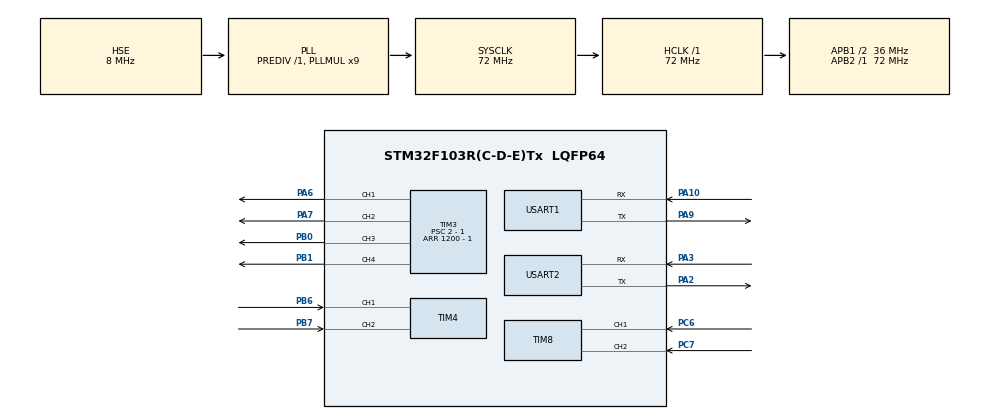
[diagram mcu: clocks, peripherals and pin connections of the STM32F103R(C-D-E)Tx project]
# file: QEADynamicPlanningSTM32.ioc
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Dma.Request0=USART1_RX
Dma.Request1=USART2_RX
Dma.USART1_RX.0.Direction=DMA_PERIPH_TO_MEMORY
Dma.USART1_RX.0.Instance=DMA1_Channel5
Dma.USART1_RX.0.MemDataAlignment=DMA_MDATAALIGN_BYTE
Dma.USART1_RX.0.MemInc=DMA_MINC_ENABLE
Dma.USART1_RX.0.Mode=DMA_CIRCULAR
Dma.USART1_RX.0.PeriphDataAlignment=DMA_PDATAALIGN_BYTE
Dma.USART1_RX.0.PeriphInc=DMA_PINC_DISABLE
Dma.USART1_RX.0.Priority=DMA_PRIORITY_LOW
Dma.USART2_RX.1.Direction=DMA_PERIPH_TO_MEMORY
Dma.USART2_RX.1.Instance=DMA1_Channel6
Dma.USART2_RX.1.MemDataAlignment=DMA_MDATAALIGN_BYTE
Dma.USART2_RX.1.MemInc=DMA_MINC_ENABLE
Dma.USART2_RX.1.Mode=DMA_CIRCULAR
Dma.USART2_RX.1.PeriphDataAlignment=DMA_PDATAALIGN_BYTE
Dma.USART2_RX.1.PeriphInc=DMA_PINC_DISABLE
Dma.USART2_RX.1.Priority=DMA_PRIORITY_LOW
FREERTOS.Mutexes01=debugUartMutex,Dynamic,NULL
FREERTOS.Tasks01=defaultTask,24,512,StartDefaultTask,Default,NULL,Dynamic,NULL,NULL;imuDecoder,24,512,IMUDecoder,Default,NULL,Dynamic,NULL,NULL;robotController,24,512,RobotController,Default,NULL,Dynamic,NULL,NULL
FREERTOS.configTOTAL_HEAP_SIZE=9999
Mcu.Family=STM32F1
Mcu.Name=STM32F103R(C-D-E)Tx
Mcu.Package=LQFP64
NVIC.DMA1_Channel5_IRQn=true\:5\:0\:false\:false\:true\:true\:false\:true
NVIC.DMA1_Channel6_IRQn=true\:5\:0\:false\:false\:true\:true\:false\:true
NVIC.PriorityGroup=NVIC_PRIORITYGROUP_4
NVIC.TIM6_IRQn=true\:15\:0\:false\:false\:true\:false\:false\:true
NVIC.TIM7_IRQn=true\:5\:0\:false\:false\:true\:true\:true\:true
NVIC.TimeBase=TIM6_IRQn
NVIC.TimeBaseIP=TIM6
NVIC.USART1_IRQn=true\:5\:0\:false\:false\:true\:true\:true\:true
PA10.Mode=Asynchronous
PA10.Signal=USART1_RX
PA13.Mode=Serial_Wire
PA13.Signal=SYS_JTMS-SWDIO
PA14.Mode=Serial_Wire
PA14.Signal=SYS_JTCK-SWCLK
PA2.Mode=Asynchronous
PA2.Signal=USART2_TX
PA3.Mode=Asynchronous
PA3.Signal=USART2_RX
PA6.Signal=S_TIM3_CH1
PA7.Signal=S_TIM3_CH2
PA9.Mode=Asynchronous
PA9.Signal=USART1_TX
PB0.Signal=S_TIM3_CH3
PB1.Signal=S_TIM3_CH4
PB6.Signal=S_TIM4_CH1
PB7.Signal=S_TIM4_CH2
PC6.Signal=S_TIM8_CH1
PC7.Signal=S_TIM8_CH2
PD0-OSC_IN.Mode=HSE-External-Oscillator
PD0-OSC_IN.Signal=RCC_OSC_IN
PD1-OSC_OUT.Mode=HSE-External-Oscillator
PD1-OSC_OUT.Signal=RCC_OSC_OUT
ProjectManager.HeapSize=0x200
ProjectManager.StackSize=0x400
ProjectManager.TargetToolchain=STM32CubeIDE
RCC.AHBFreq_Value=72000000
RCC.APB1CLKDivider=RCC_HCLK_DIV2
RCC.APB1Freq_Value=36000000
RCC.APB1TimFreq_Value=72000000
RCC.APB2Freq_Value=72000000
RCC.APB2TimFreq_Value=72000000
RCC.HCLKFreq_Value=72000000
RCC.PLLMUL=RCC_PLL_MUL9
RCC.PLLSourceVirtual=RCC_PLLSOURCE_HSE
RCC.SYSCLKFreq_VALUE=72000000
RCC.SYSCLKSource=RCC_SYSCLKSOURCE_PLLCLK
RCC.USBFreq_Value=72000000
SH.S_TIM3_CH1.0=TIM3_CH1,PWM Generation1 CH1
SH.S_TIM3_CH2.0=TIM3_CH2,PWM Generation2 CH2
SH.S_TIM3_CH3.0=TIM3_CH3,PWM Generation3 CH3
SH.S_TIM3_CH4.0=TIM3_CH4,PWM Generation4 CH4
SH.S_TIM4_CH1.0=TIM4_CH1,Encoder_Interface
SH.S_TIM4_CH2.0=TIM4_CH2,Encoder_Interface
SH.S_TIM8_CH1.0=TIM8_CH1,Encoder_Interface
SH.S_TIM8_CH2.0=TIM8_CH2,Encoder_Interface
TIM3.Channel-PWM\ Generation1\ CH1=TIM_CHANNEL_1
TIM3.Channel-PWM\ Generation2\ CH2=TIM_CHANNEL_2
TIM3.Channel-PWM\ Generation3\ CH3=TIM_CHANNEL_3
TIM3.Channel-PWM\ Generation4\ CH4=TIM_CHANNEL_4
TIM3.Period=1200 - 1
TIM3.Prescaler=2 - 1
TIM4.EncoderMode=TIM_ENCODERMODE_TI12
TIM7.Period=1000 - 1
TIM7.Prescaler=72 - 1
TIM8.EncoderMode=TIM_ENCODERMODE_TI12
USART1.VirtualMode=VM_ASYNC
USART2.VirtualMode=VM_ASYNC
VP_FREERTOS_VS_CMSIS_V2.Mode=CMSIS_V2
VP_SYS_VS_tim6.Mode=TIM6
VP_TIM3_VS_ClockSourceINT.Mode=Internal
VP_TIM7_VS_ClockSourceINT.Mode=Enable_Timer
board=custom

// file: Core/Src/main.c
/* USER CODE BEGIN Header */
/**
  ******************************************************************************
  * @file           : main.c
  * @brief          : Main program body
  ******************************************************************************
  * @attention
  *
  * Copyright (c) 2023 STMicroelectronics.
  * All rights reserved.
  *
  * This software is licensed under terms that can be found in the LICENSE file
  * in the root directory of this software component.
  * If no LICENSE file comes with this software, it is provided AS-IS.
  *
  ******************************************************************************
  */
/* USER CODE END Header */
#include "main.h"
#include "cmsis_os.h"
#include "dma.h"
#include "tim.h"
#include "usart.h"
#include "gpio.h"

/* USER CODE BEGIN Includes */

#include "string.h"
#include "stdio.h"
#include "pid.h"
#include "wheel_pwm.h"
#include "imu.h"
#include "motion.h"
#include "robot.h"

/* USER CODE END Includes */

void SystemClock_Config(void);
void MX_FREERTOS_Init(void);

/* USER CODE BEGIN 0 */

void HAL_UART_RxHalfCpltCallback(UART_HandleTypeDef* huart)
{
    if (huart->Instance == USART2) {
        IMU_RxHalfCpltCallback();
    }
}

void HAL_UART_RxCpltCallback(UART_HandleTypeDef* huart)
{
    if (huart->Instance == USART2) {
        IMU_RxCpltCallback();
    } else if (huart->Instance == USART1) {
        Robot_RxCpltCallback();
    }
}

/* USER CODE END 0 */

int main(void)
{

  /* MCU Configuration--------------------------------------------------------*/

  /* Reset of all peripherals, Initializes the Flash interface and the Systick. */
  HAL_Init();

  /* Configure the system clock */
  SystemClock_Config();

  /* Initialize all configured peripherals */
  MX_DMA_Init();
  MX_GPIO_Init();
  MX_USART1_UART_Init();
  MX_USART2_UART_Init();
  MX_TIM3_Init();
  MX_TIM4_Init();
  MX_TIM8_Init();
  MX_TIM7_Init();
  /* USER CODE BEGIN 2 */

    Wheel_PID_Init();

    //启动编码器
    HAL_TIM_Encoder_Start(&htim4, TIM_CHANNEL_1 | TIM_CHANNEL_2);
    HAL_TIM_Encoder_Start(&htim8, TIM_CHANNEL_1 | TIM_CHANNEL_2);

    //开启pwm输出 驱动频率30kHz 0-1200
    HAL_TIM_PWM_Start(&htim3, TIM_CHANNEL_1);
    HAL_TIM_PWM_Start(&htim3, TIM_CHANNEL_2);
    HAL_TIM_PWM_Start(&htim3, TIM_CHANNEL_3);
    HAL_TIM_PWM_Start(&htim3, TIM_CHANNEL_4);

    //开启编码器速度采集 1kHz
    HAL_TIM_Base_Start_IT(&htim7);

  /* USER CODE END 2 */

  /* Init scheduler */
  osKernelInitialize();  /* Call init function for freertos objects (in freertos.c) */
  MX_FREERTOS_Init();
  /* Start scheduler */
  osKernelStart();

  /* We should never get here as control is now taken by the scheduler */
  /* Infinite loop */
  while (1)
  {

  }
}

void SystemClock_Config(void)
{
  RCC_OscInitTypeDef RCC_OscInitStruct = {0};
  RCC_ClkInitTypeDef RCC_ClkInitStruct = {0};

  /** Initializes the RCC Oscillators according to the specified parameters
  * in the RCC_OscInitTypeDef structure.
  */
  RCC_OscInitStruct.OscillatorType = RCC_OSCILLATORTYPE_HSE;
  RCC_OscInitStruct.HSEState = RCC_HSE_ON;
  RCC_OscInitStruct.HSEPredivValue = RCC_HSE_PREDIV_DIV1;
  RCC_OscInitStruct.HSIState = RCC_HSI_ON;
  RCC_OscInitStruct.PLL.PLLState = RCC_PLL_ON;
  RCC_OscInitStruct.PLL.PLLSource = RCC_PLLSOURCE_HSE;
  RCC_OscInitStruct.PLL.PLLMUL = RCC_PLL_MUL9;
  if (HAL_RCC_OscConfig(&RCC_OscInitStruct) != HAL_OK)
  {
    Error_Handler();
  }
  /** Initializes the CPU, AHB and APB buses clocks
  */
  RCC_ClkInitStruct.ClockType = RCC_CLOCKTYPE_HCLK|RCC_CLOCKTYPE_SYSCLK
                              |RCC_CLOCKTYPE_PCLK1|RCC_CLOCKTYPE_PCLK2;
  RCC_ClkInitStruct.SYSCLKSource = RCC_SYSCLKSOURCE_PLLCLK;
  RCC_ClkInitStruct.AHBCLKDivider = RCC_SYSCLK_DIV1;
  RCC_ClkInitStruct.APB1CLKDivider = RCC_HCLK_DIV2;
  RCC_ClkInitStruct.APB2CLKDivider = RCC_HCLK_DIV1;

  if (HAL_RCC_ClockConfig(&RCC_ClkInitStruct, FLASH_LATENCY_2) != HAL_OK)
  {
    Error_Handler();
  }
}

void HAL_TIM_PeriodElapsedCallback(TIM_HandleTypeDef *htim)
{
  if (htim->Instance == TIM6) {
    HAL_IncTick();
  }
  /* USER CODE BEGIN Callback 1 */

  //进行一次pid计算
  if (htim->Instance == TIM7) {
     Wheel_PID_Tick();
  }

  /* USER CODE END Callback 1 */
}

void Error_Handler(void)
{
  __disable_irq();
  while (1)
  {
  }
}

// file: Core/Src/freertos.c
/* USER CODE BEGIN Header */
/**
  ******************************************************************************
  * File Name          : freertos.c
  * Description        : Code for freertos applications
  ******************************************************************************
  * @attention
  *
  * Copyright (c) 2023 STMicroelectronics.
  * All rights reserved.
  *
  * This software is licensed under terms that can be found in the LICENSE file
  * in the root directory of this software component.
  * If no LICENSE file comes with this software, it is provided AS-IS.
  *
  ******************************************************************************
  */
/* USER CODE END Header */

#include "FreeRTOS.h"
#include "task.h"
#include "main.h"
#include "cmsis_os.h"

/* USER CODE BEGIN Includes */

#include "stdio.h"
#include "string.h"
#include "imu.h"
#include "motion.h"
#include "robot.h"

/* USER CODE END Includes */

/* Definitions for defaultTask */
osThreadId_t defaultTaskHandle;
const osThreadAttr_t defaultTask_attributes = {
  .name = "defaultTask",
  .stack_size = 512 * 4,
  .priority = (osPriority_t) osPriorityNormal,
};
/* Definitions for imuDecoder */
osThreadId_t imuDecoderHandle;
const osThreadAttr_t imuDecoder_attributes = {
  .name = "imuDecoder",
  .stack_size = 512 * 4,
  .priority = (osPriority_t) osPriorityNormal,
};
/* Definitions for robotController */
osThreadId_t robotControllerHandle;
const osThreadAttr_t robotController_attributes = {
  .name = "robotController",
  .stack_size = 512 * 4,
  .priority = (osPriority_t) osPriorityNormal,
};
/* Definitions for debugUartMutex */
osMutexId_t debugUartMutexHandle;
const osMutexAttr_t debugUartMutex_attributes = {
  .name = "debugUartMutex"
};

/* USER CODE BEGIN FunctionPrototypes */

int startsWith(const char* str1, const char* str2)
{
    int len1 = strlen(str1), len2 = strlen(str2);
    if (len1 < len2) return 0;
    for (int i = 0; i < len2; ++i) {
        if (str1[i] != str2[i]) return 0;
    }
    return 1;
}

/* USER CODE END FunctionPrototypes */

void StartDefaultTask(void *argument);
void IMUDecoder(void *argument);
void RobotController(void *argument);

void MX_FREERTOS_Init(void); /* (MISRA C 2004 rule 8.1) */

void MX_FREERTOS_Init(void) {
  /* Create the mutex(es) */
  /* creation of debugUartMutex */
  debugUartMutexHandle = osMutexNew(&debugUartMutex_attributes);

  /* USER CODE BEGIN RTOS_QUEUES */
  /* add queues, ... */

  messageBufferHandle = xMessageBufferCreate(1024);

  /* USER CODE END RTOS_QUEUES */

  /* Create the thread(s) */
  /* creation of defaultTask */
  defaultTaskHandle = osThreadNew(StartDefaultTask, NULL, &defaultTask_attributes);

  /* creation of imuDecoder */
  imuDecoderHandle = osThreadNew(IMUDecoder, NULL, &imuDecoder_attributes);

  /* creation of robotController */
  robotControllerHandle = osThreadNew(RobotController, NULL, &robotController_attributes);

}

void StartDefaultTask(void *argument)
{
  /* USER CODE BEGIN StartDefaultTask */
  /* Infinite loop */
  for(;;)
  {
      portENTER_CRITICAL(); //进入临界代码段

      char message[128] = {0};
      snprintf(message, 128, "[imu]heading:%.4lf pitch:%.4lf roll:%.4lf\r\n", robotIMU.heading, robotIMU.pitch, robotIMU.roll);
      xSemaphoreTake(debugUartMutexHandle, portMAX_DELAY); //获取串口调试资源
      HAL_UART_Transmit(&huart1, message, strlen(message), 100);
      xSemaphoreGive(debugUartMutexHandle); //释放串口调试资源

      portEXIT_CRITICAL();

    osDelay(100);
  }
  /* USER CODE END StartDefaultTask */
}

void IMUDecoder(void *argument)
{
  /* USER CODE BEGIN IMUDecoder */
    imuTaskHandle = xTaskGetCurrentTaskHandle(); //将当前任务句柄送给imu
    /* Infinite loop */
    for(uint32_t cnt = 0; ; ++cnt)
    {
        if (HAL_UART_STATE_READY == HAL_UART_GetState(&huart2)) {
            HAL_UART_Receive_DMA(&huart2, imuRecvBuff, 128); //开启imu串口通信
        }

        uint32_t value = 0;
        if (pdTRUE == xTaskNotifyWait(0, 0xffffffff, &value, pdMS_TO_TICKS(100)) && value == 0x12345678) {
            while (!DecodeIMUPackage()) {} //解析imu数据包
        }
        osDelay(1);
    }

  /* USER CODE END IMUDecoder */
}

void RobotController(void *argument)
{
  /* USER CODE BEGIN RobotController */
  /* Infinite loop */
    osDelay(1000);

    HAL_UART_Receive_IT(&huart1, robotRecvBuff + robotRecvOffset, 1);
    /* Infinite loop */
    for(;;)
    {
        char message[128] = {0};
        xMessageBufferReceive(messageBufferHandle, message, 128, portMAX_DELAY);

        if (startsWith(message, "[forward]")) {
            portENTER_CRITICAL();
            char msgHello[] = "[motion]Hello\r\n";
            xSemaphoreTake(debugUartMutexHandle, portMAX_DELAY); //获取串口调试资源
            HAL_UART_Transmit(&huart1, msgHello, strlen(msgHello), 100);
            xSemaphoreGive(debugUartMutexHandle); //释放串口调试资源
            portEXIT_CRITICAL();

            double speed, dis;
            sscanf(message, "[forward]speed=%lf dis=%lf", &speed, &dis);
            MoveForwardWithDis(speed, dis);

            //移动结束发送OK
            portENTER_CRITICAL();
            char msgOK[] = "[motion]OK\r\n";
            xSemaphoreTake(debugUartMutexHandle, portMAX_DELAY); //获取串口调试资源
            HAL_UART_Transmit(&huart1, msgOK, strlen(msgOK), 100);
            xSemaphoreGive(debugUartMutexHandle); //释放串口调试资源
            portEXIT_CRITICAL();
        } else if (startsWith(message, "[backward]")) {
            portENTER_CRITICAL();
            char msgHello[] = "[motion]Hello\r\n";
            xSemaphoreTake(debugUartMutexHandle, portMAX_DELAY); //获取串口调试资源
            HAL_UART_Transmit(&huart1, msgHello, strlen(msgHello), 100);
            xSemaphoreGive(debugUartMutexHandle); //释放串口调试资源
            portEXIT_CRITICAL();

            double speed, dis;
            sscanf(message, "[backward]speed=%lf dis=%lf", &speed, &dis);
            MoveBackwardWithDis(speed, dis);

            //移动结束发送OK
            portENTER_CRITICAL();
            char msgOK[] = "[motion]OK\r\n";
            xSemaphoreTake(debugUartMutexHandle, portMAX_DELAY); //获取串口调试资源
            HAL_UART_Transmit(&huart1, msgOK, strlen(msgOK), 100);
            xSemaphoreGive(debugUartMutexHandle); //释放串口调试资源
            portEXIT_CRITICAL();
        } else if (startsWith(message, "[spin]")) {
            portENTER_CRITICAL();
            char msgHello[] = "[motion]Hello\r\n";
            xSemaphoreTake(debugUartMutexHandle, portMAX_DELAY); //获取串口调试资源
            HAL_UART_Transmit(&huart1, msgHello, strlen(msgHello), 100);
            xSemaphoreGive(debugUartMutexHandle); //释放串口调试资源
            portEXIT_CRITICAL();

            double speed, radian;
            sscanf(message, "[spin]speed=%lf radian=%lf", &speed, &radian);
            SpinTo(speed, radian);

            //移动结束发送OK
            portENTER_CRITICAL();
            char msgOK[] = "[motion]OK\r\n";
            xSemaphoreTake(debugUartMutexHandle, portMAX_DELAY); //获取串口调试资源
            HAL_UART_Transmit(&huart1, msgOK, strlen(msgOK), 100);
            xSemaphoreGive(debugUartMutexHandle); //释放串口调试资源
            portEXIT_CRITICAL();
        }
        osDelay(1);
    }
  /* USER CODE END RobotController */
}
